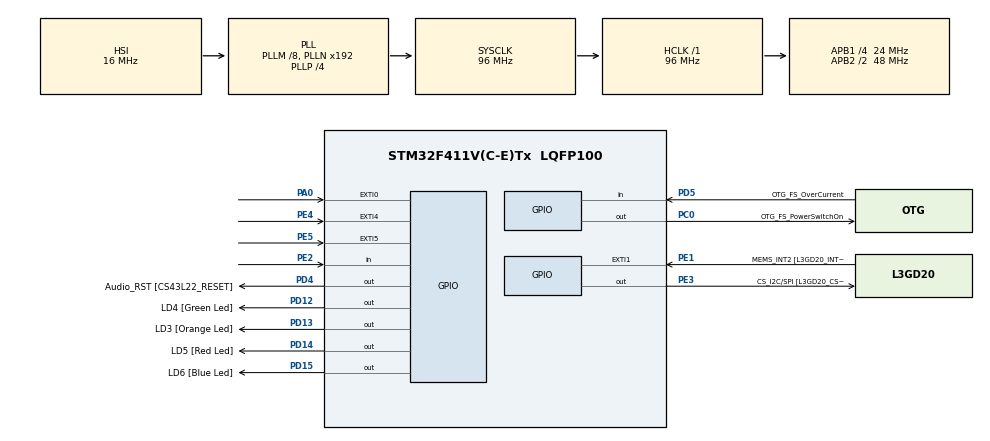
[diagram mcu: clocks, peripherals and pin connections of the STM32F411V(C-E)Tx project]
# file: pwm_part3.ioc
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Mcu.Family=STM32F4
Mcu.Name=STM32F411V(C-E)Tx
Mcu.Package=LQFP100
NVIC.PriorityGroup=NVIC_PRIORITYGROUP_0
PA0-WKUP.GPIO_ModeDefaultEXTI=GPIO_MODE_EVT_RISING
PA0-WKUP.Signal=GPXTI0
PA10.GPIO_Label=OTG_FS_ID
PA10.Signal=USB_OTG_FS_ID
PA11.GPIO_Label=OTG_FS_DM
PA11.Signal=USB_OTG_FS_DM
PA12.GPIO_Label=OTG_FS_DP
PA12.Signal=USB_OTG_FS_DP
PA13.GPIO_Label=SWDIO
PA13.Signal=SYS_JTMS-SWDIO
PA14.GPIO_Label=SWCLK
PA14.Signal=SYS_JTCK-SWCLK
PA4.GPIO_Label=I2S3_WS [CS43L22_LRCK]
PA4.GPIO_Mode=GPIO_MODE_AF_PP
PA4.GPIO_PuPd=GPIO_NOPULL
PA4.GPIO_Speed=GPIO_SPEED_FREQ_LOW
PA4.Signal=I2S3_WS
PA5.GPIO_Label=SPI1_SCK [L3GD20_SC/SPC]
PA5.Signal=SPI1_SCK
PA6.GPIO_Label=SPI1_MISO [L3GD20_AS0/SDO]
PA6.Signal=SPI1_MISO
PA7.GPIO_Label=SPI1_MOSI [L3GD20_SDA/SDI/SDO]
PA7.Signal=SPI1_MOSI
PA9.GPIO_Label=VBUS_FS
PA9.Signal=USB_OTG_FS_VBUS
PB10.GPIO_Label=CLK_IN [MP45DT02_CLK]
PB10.Signal=I2S2_CK
PB12.Signal=I2S2_WS
PB3.GPIO_Label=SWO
PB3.Signal=SYS_JTDO-SWO
PB6.GPIO_Label=Audio_SCL [CS43L22_SCL]
PB6.GPIO_Mode=GPIO_MODE_AF_OD
PB6.GPIO_PuPd=GPIO_NOPULL
PB6.GPIO_Speed=GPIO_SPEED_FREQ_LOW
PB6.Signal=I2C1_SCL
PB9.GPIO_Label=Audio_SDA [CS43L22_SDA]
PB9.GPIO_Mode=GPIO_MODE_AF_OD
PB9.GPIO_PuPd=GPIO_NOPULL
PB9.GPIO_Speed=GPIO_SPEED_FREQ_LOW
PB9.Signal=I2C1_SDA
PC0.GPIO_Label=OTG_FS_PowerSwitchOn
PC0.PinState=GPIO_PIN_SET
PC0.Signal=GPIO_Output
PC10.GPIO_Label=I2S3_SCK [CS43L22_SCLK]
PC10.GPIO_Mode=GPIO_MODE_AF_PP
PC10.GPIO_PuPd=GPIO_NOPULL
PC10.GPIO_Speed=GPIO_SPEED_FREQ_LOW
PC10.Signal=I2S3_CK
PC12.GPIO_Label=I2S3_SD [CS43L22_SDIN]
PC12.GPIO_Mode=GPIO_MODE_AF_PP
PC12.GPIO_PuPd=GPIO_NOPULL
PC12.GPIO_Speed=GPIO_SPEED_FREQ_LOW
PC12.Signal=I2S3_SD
PC14-OSC32_IN.GPIO_Label=PC14-OSC32_IN
PC14-OSC32_IN.Signal=RCC_OSC32_IN
PC15-OSC32_OUT.GPIO_Label=PC15-OSC32_OUT
PC15-OSC32_OUT.Signal=RCC_OSC32_OUT
PC3.GPIO_Label=PDM_OUT [MP45DT02_DOUT]
PC3.Signal=I2S2_SD
PC7.GPIO_Label=I2S3_MCK [CS43L22_MCLK]
PC7.GPIO_Mode=GPIO_MODE_AF_PP
PC7.GPIO_PuPd=GPIO_NOPULL
PC7.GPIO_Speed=GPIO_SPEED_FREQ_LOW
PC7.Signal=I2S3_MCK
PD12.GPIO_Label=LD4 [Green Led]
PD12.GPIO_PuPd=GPIO_NOPULL
PD12.GPIO_Speed=GPIO_SPEED_FREQ_LOW
PD12.Signal=GPIO_Output
PD13.GPIO_Label=LD3 [Orange Led]
PD13.GPIO_PuPd=GPIO_NOPULL
PD13.GPIO_Speed=GPIO_SPEED_FREQ_LOW
PD13.Signal=GPIO_Output
PD14.GPIO_Label=LD5 [Red Led]
PD14.GPIO_PuPd=GPIO_NOPULL
PD14.GPIO_Speed=GPIO_SPEED_FREQ_LOW
PD14.Signal=GPIO_Output
PD15.GPIO_Label=LD6 [Blue Led]
PD15.GPIO_PuPd=GPIO_NOPULL
PD15.GPIO_Speed=GPIO_SPEED_FREQ_LOW
PD15.Signal=GPIO_Output
PD4.GPIO_Label=Audio_RST [CS43L22_RESET]
PD4.Signal=GPIO_Output
PD5.GPIO_Label=OTG_FS_OverCurrent
PD5.Signal=GPIO_Input
PE1.GPIO_Label=MEMS_INT2 [L3GD20_INT2]
PE1.GPIO_ModeDefaultEXTI=GPIO_MODE_EVT_RISING
PE1.Signal=GPXTI1
PE2.Signal=GPIO_Input
PE3.GPIO_Label=CS_I2C/SPI [L3GD20_CS_I2C/SPI]
PE3.Signal=GPIO_Output
PE4.GPIO_ModeDefaultEXTI=GPIO_MODE_EVT_RISING
PE4.Signal=GPXTI4
PE5.GPIO_ModeDefaultEXTI=GPIO_MODE_EVT_RISING
PE5.Signal=GPXTI5
PH0\ -\ OSC_IN.GPIO_Label=PH0-OSC_IN
PH0\ -\ OSC_IN.Signal=RCC_OSC_IN
PH1\ -\ OSC_OUT.GPIO_Label=PH1-OSC_OUT
PH1\ -\ OSC_OUT.Signal=RCC_OSC_OUT
ProjectManager.HeapSize=0x200
ProjectManager.StackSize=0x400
ProjectManager.TargetToolchain=STM32CubeIDE
RCC.48MHZClocksFreq_Value=48000000
RCC.AHBFreq_Value=96000000
RCC.APB1CLKDivider=RCC_HCLK_DIV4
RCC.APB1Freq_Value=24000000
RCC.APB1TimFreq_Value=48000000
RCC.APB2CLKDivider=RCC_HCLK_DIV2
RCC.APB2Freq_Value=48000000
RCC.APB2TimFreq_Value=96000000
RCC.CortexFreq_Value=96000000
RCC.HCLKFreq_Value=96000000
RCC.HSE_VALUE=8000000
RCC.HSI_VALUE=16000000
RCC.LSE_VALUE=32768
RCC.PLLI2SM=5
RCC.PLLI2SN=200
RCC.PLLM=8
RCC.PLLP=RCC_PLLP_DIV4
RCC.PLLQ=8
RCC.SYSCLKFreq_VALUE=96000000
RCC.SYSCLKSource=RCC_SYSCLKSOURCE_PLLCLK
RCC.VCOOutputFreq_Value=384000000
board=STM32F411E-DISCO

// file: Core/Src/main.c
/* USER CODE BEGIN Header */
/**
  ******************************************************************************
  * @file           : main.c
  * @brief          : This code is used to modify the intensity of on board STM32 LED using PWM TIM4 CH for PD12. Using USART and USER Button controls the Led intensity varies
  ******************************************************************************
  * @attention
  *
  * Copyright (c) 2023 STMicroelectronics.
  * All rights reserved.
  *
  * This software is licensed under terms that can be found in the LICENSE file
  * in the root directory of this software component.
  * If no LICENSE file comes with this software, it is provided AS-IS.
  *
  ******************************************************************************
  */
/* USER CODE END Header */
#include "main.h"
#include <stdio.h>
#include "stm32f4xx.h"

/* USER CODE BEGIN PD */
#define PWM_PERIOD 1000          // Define the period for the PWM signal as 1000 units.
#define PWM_INCREMENT 5          // Define the PWM duty cycle increment in percentage as 5%.
#define PWM_INCREMENT_BUTTON 10  // Define a larger PWM duty cycle increment for button input as 10%.
#define EXTI1_IMR_PORTA0 (0b01)  // Define EXTI1 interrupt mask for PORTA0.
#define EXTI2_RTSR_PORTA0 (0b01) // Define EXTI2 rising edge trigger for PORTA0.
#define REQUIRED_DELAY 4500000   // Define a required delay value as 4500000.
#define TIMER2_CR1_CE (0b01)     // Define Timer 2 Control Register (CR1) bit for Counter Enable (CE).
#define TIMER2_SR_UIF (0b01)     // Define Timer 2 Status Register (SR) bit for Update Interrupt Flag (UIF).
#define TIMER2_DIER_UIE (0b01)   // Define Timer 2 DMA/Interrupt Enable Register (DIER) bit for Update Interrupt Enable (UIE).
#define RCC1_TIMER2_ENR (0b01)   // Define Timer 2 clock enable bit in the RCC1 peripheral (RCC1_TIMER2_ENR).

/* USER CODE END PD */

/* USER CODE BEGIN PV */
volatile int currentDutyCycle = 60; // Initialize a variable for the current PWM duty cycle to 60%.
volatile int increaseDutyCycle = 1; // Initialize a flag to indicate an increase in duty cycle.
volatile int User_Button = 0; // Initialize a flag to indicate the state of a user button.
/* USER CODE END PV */

void SystemClock_Config(void); // Declare a function prototype for system clock configuration.

static void MX_GPIO_Init(void); // Declare a function prototype for initializing GPIO.

void UART_SendChar(char c); // Declare a function prototype for sending a character over UART.
void UART_SendString(const char* str); // Declare a function prototype for sending a string over UART.
void UpdatePWM(int dutyCycle); // Declare a function prototype for updating the PWM duty cycle.
void USART2_Init(); // Declare a function prototype for initializing USART2.
void PWM_Config(); // Declare a function prototype for configuring PWM settings.
void EXTI0_IRQHandler(void); // Declare a function prototype for the EXTI0 interrupt handler.
char USART2_ReceiveChar(); // Declare a function prototype for receiving a character from USART2.
void TIM2_Init(void); // Declare a function prototype for initializing TIM2.

/* USER CODE BEGIN 0 */
// Function to send a character over UART
void UART_SendChar(char c)
{
    // Wait until the Transmit Data Register (TXE) bit is set to indicate the data register is empty.
    while (!(USART2->SR & USART_SR_TXE));

    // Send the character by writing it to the Data Register (DR).
    USART2->DR = c;
}

char USART2_ReceiveChar()
{
    // Wait until the Receive Data Register Not Empty (RXNE) bit is set to indicate data has been received.
    while (!(USART2->SR & USART_SR_RXNE)); // Wait until data is received

    // Read the received character from the Data Register (DR) and return it.
    return USART2->DR;
}

// Function to send a string over UART
void UART_SendString(const char* str)
{
    for (int i = 0; str[i] != '\0'; i++)
    {
        // Send each character in the string using the UART_SendChar function.
        UART_SendChar(str[i]);
    }
}

// Function to update the PWM duty cycle
void UpdatePWM(int dutyCycle)
{
    // Calculate the new PWM duty cycle value and set it in the Capture/Compare Register 1 (CCR1) of TIM4.
    TIM4->CCR1 = (dutyCycle * PWM_PERIOD) / 100;
}

/* USER CODE END 0 */
int main(void)
{

  /* MCU Configuration--------------------------------------------------------*/

  /* Configure the system clock */
  //SystemClock_Config();

  /* Initialize all configured peripherals */
  MX_GPIO_Init();
  /* USER CODE BEGIN 2 */
  USART2_Init();
  PWM_Config();
  TIM2_Init();

  char command;
  /* USER CODE END 2 */

  /* Infinite loop */
  while (1)
{

    // Check for UART input
    command = USART2_ReceiveChar(); // Receive a character from USART2.
    UART_SendChar(command); // Send the received character back through UART.

    if (command == 'P')
    {
        char uartBuffer[50];
        // Create a string with the current duty cycle and send it through UART.
        sprintf(uartBuffer, "\r\nCurrent Duty Cycle: %d%%\n\r", currentDutyCycle);
        UART_SendString(uartBuffer);
    }
    else if (command == 'A')
    {
        // Increase the current duty cycle by a defined increment.
        currentDutyCycle += PWM_INCREMENT;

        // Check if the duty cycle has exceeded 100% and limit it to 100%.
        if (currentDutyCycle > 100)
        {
            currentDutyCycle = 100;
        }

        // Update the PWM with the new duty cycle value.
        UpdatePWM(currentDutyCycle);
    }
    else if (command == 'B')
    {
        // Decrease the current duty cycle by a defined increment.
        currentDutyCycle -= PWM_INCREMENT;

        // Check if the duty cycle has gone below 0% and limit it to 0%.
        if (currentDutyCycle < 0)
        {
            currentDutyCycle = 0;
        }

        // Update the PWM with the new duty cycle value.
        UpdatePWM(currentDutyCycle);
    }

}
}

void SystemClock_Config(void)
{
  RCC_OscInitTypeDef RCC_OscInitStruct = {0};
  RCC_ClkInitTypeDef RCC_ClkInitStruct = {0};

  /** Configure the main internal regulator output voltage
  */
  __HAL_RCC_PWR_CLK_ENABLE();
  __HAL_PWR_VOLTAGESCALING_CONFIG(PWR_REGULATOR_VOLTAGE_SCALE1);

  /** Initializes the RCC Oscillators according to the specified parameters
  * in the RCC_OscInitTypeDef structure.
  */
  RCC_OscInitStruct.OscillatorType = RCC_OSCILLATORTYPE_HSI;
  RCC_OscInitStruct.HSIState = RCC_HSI_ON;
  RCC_OscInitStruct.HSICalibrationValue = RCC_HSICALIBRATION_DEFAULT;
  RCC_OscInitStruct.PLL.PLLState = RCC_PLL_ON;
  RCC_OscInitStruct.PLL.PLLSource = RCC_PLLSOURCE_HSI;
  RCC_OscInitStruct.PLL.PLLM = 8;
  RCC_OscInitStruct.PLL.PLLN = 192;
  RCC_OscInitStruct.PLL.PLLP = RCC_PLLP_DIV4;
  RCC_OscInitStruct.PLL.PLLQ = 8;
  if (HAL_RCC_OscConfig(&RCC_OscInitStruct) != HAL_OK)
  {
    Error_Handler();
  }

  /** Initializes the CPU, AHB and APB buses clocks
  */
  RCC_ClkInitStruct.ClockType = RCC_CLOCKTYPE_HCLK|RCC_CLOCKTYPE_SYSCLK
                              |RCC_CLOCKTYPE_PCLK1|RCC_CLOCKTYPE_PCLK2;
  RCC_ClkInitStruct.SYSCLKSource = RCC_SYSCLKSOURCE_PLLCLK;
  RCC_ClkInitStruct.AHBCLKDivider = RCC_SYSCLK_DIV1;
  RCC_ClkInitStruct.APB1CLKDivider = RCC_HCLK_DIV4;
  RCC_ClkInitStruct.APB2CLKDivider = RCC_HCLK_DIV2;

  if (HAL_RCC_ClockConfig(&RCC_ClkInitStruct, FLASH_LATENCY_3) != HAL_OK)
  {
    Error_Handler();
  }
}

static void MX_GPIO_Init(void)
{
    // Enable the clock for GPIOA and GPIOD using the RCC AHB1 peripheral clock enable register.
    RCC->AHB1ENR |= RCC_AHB1ENR_GPIOAEN | RCC_AHB1ENR_GPIODEN;

    // Configure PA2 (USART2 TX) and PA3 (USART2 RX) as alternate function (AF7 for USART2).
    // Set the alternate function for PA2 and PA3 in the GPIO alternate function registers (AFR).
    GPIOA->AFR[0] |= (7 << 8) | (7 << 12); // AF7 for USART2

    // Set the mode for PA2 and PA3 to alternate function mode.
    GPIOA->MODER |= GPIO_MODER_MODER2_1 | GPIO_MODER_MODER3_1; // PA2 as AF & PA3 as AF

    // Enable interrupt generation for EXTI line 1, which is mapped to PORTA0.
    EXTI->IMR = EXTI1_IMR_PORTA0;

    // Configure EXTI line 2 to trigger on the rising edge for events on PORTA0.
    EXTI->RTSR = EXTI2_RTSR_PORTA0;

    // Enable the EXTI0 interrupt in the NVIC (Nested Vector Interrupt Controller).
    NVIC_EnableIRQ(EXTI0_IRQn);
}

/* USER CODE BEGIN 4 */
void USART2_Init()
{
    // Enable USART2  clock
    RCC->APB1ENR |= RCC_APB1ENR_USART2EN;

    // Baud rate 9600
    USART2->BRR = 0x0087; // These values are for a 16Mhz Sys clock
    // Baud rate 115200, then BRR will be 0x8A

    // Configure UART
    USART2->CR1 = USART_CR1_TE | USART_CR1_RE | USART_CR1_UE; // Enable transmitter and receiver & Enable USART2

}
/* USER CODE END 4 */

/* USER CODE BEGIN 5 */
// Function to configure the GPIO pin for PWM
void PWM_Config()
{
    // Configure PD12 (User LED1) for PWM to control the LED
    GPIOD->MODER |= GPIO_MODER_MODER12_1; // Set PD12 to alternate function mode
    GPIOD->AFR[1] |= (2 << 16); // Set PD12 to AF2 (TIM4)

    // Enable TIM4 clock
    RCC->APB1ENR |= RCC_APB1ENR_TIM4EN;

    // Configure PWM settings for TIM4
    TIM4->PSC = 0; // No prescaler
    TIM4->ARR = PWM_PERIOD; // Set the auto-reload register
    TIM4->CCR1 = (currentDutyCycle * PWM_PERIOD) / 100; // Set initial duty cycle

    // Configure PWM mode 1 on channel 1
    TIM4->CCMR1 |= (6 << 4); // PWM mode 1
    TIM4->CCER |= TIM_CCER_CC1E; // Enable channel 1 output

    // Enable TIM4 counter
    TIM4->CR1 |= TIM_CR1_CEN;
}

void EXTI0_IRQHandler(void)
{
    // Check if the Pending Register 0 (PR0) bit is set in the EXTI peripheral.
    if (EXTI->PR & EXTI_PR_PR0)
    {
        // Clear the Pending Register 0 (PR0) bit to acknowledge the interrupt.
        EXTI->PR = EXTI_PR_PR0;

        // Check if the User_Button is not currently pressed.
        if (!User_Button)
        {
            // Enable the counter in TIM2 by setting the Counter Enable (CEN) bit.
            TIM2->CR1 |= TIM_CR1_CEN;

            // Set the User_Button flag to indicate that the button is now pressed.
            User_Button = 1;
        }
    }
}

/* USER CODE END 5 */

void Error_Handler(void)
{
  __disable_irq();
  while (1)
  {
  }
}

void TIM2_Init(void) {
    RCC->APB1ENR |= RCC_APB1ENR_TIM2EN; // Enable TIM2 clock

    TIM2->PSC = 8399; // Set prescaler to get 10 kHz
    TIM2->ARR = 999; // Auto-reload value for a 1 ms delay

    TIM2->DIER |= TIM_DIER_UIE; // Enable update interrupt
    NVIC_EnableIRQ(TIM2_IRQn);
}

void TIM2_IRQHandler(void)
{
   // Check if the Update Interrupt Flag (UIF) is set in the status register (SR) of TIM2.
   if(TIM2->SR & TIM_SR_UIF)
   {
      // Clear the Update Interrupt Flag (UIF) by bitwise ANDing with its complement.
      TIM2->SR &= ~TIM_SR_UIF;

      // Check if the User_Button is pressed.
      if(User_Button)
      {
         // Check if the duty cycle should be increased.
         if (increaseDutyCycle)
         {
             // Increment the current duty cycle by a defined amount (PWM_INCREMENT_BUTTON).
             currentDutyCycle += PWM_INCREMENT_BUTTON;

             // Check if the current duty cycle has reached or exceeded 100%.
             if (currentDutyCycle >= 100)
             {
                 // Set the duty cycle to 100% and switch the mode to decreasing.
                 currentDutyCycle = 100;
                 increaseDutyCycle = 0;
             }
         }
         else
         {
             // Decrease the current duty cycle by a defined amount (PWM_INCREMENT_BUTTON).
             currentDutyCycle -= PWM_INCREMENT_BUTTON;

             // Check if the current duty cycle has reached or gone below 0%.
             if (currentDutyCycle <= 0)
             {
                 // Set the duty cycle to 0% and switch the mode to increasing.
                 currentDutyCycle = 0;
                 increaseDutyCycle = 1;
             }
         }

         // Update the PWM with the new duty cycle value.
         UpdatePWM(currentDutyCycle);
      }
   }
}
